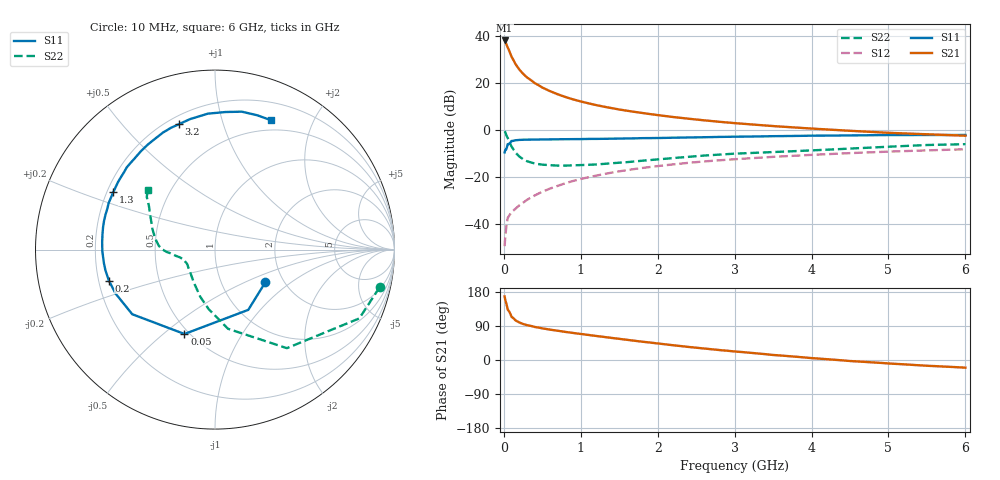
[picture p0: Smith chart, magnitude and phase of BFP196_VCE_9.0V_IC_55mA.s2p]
! (c) 2017  Infineon Technologies AG, Munich
! Infineon Technologies  Discrete & RF Semiconductors
! BFP196
! VCE =  9.0 V,  IC =  55 mA
! Common Emitter S-Parameters:  Jan 2017
# GHz  S  MA  R  50
!  f  S11  S21  S12  S22
! GHz  MAG  ANG  MAG  ANG  MAG  ANG  MAG  ANG
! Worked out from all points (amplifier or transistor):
!   77 points, 10 MHz to 6 GHz, reference 50 ohm
!   highest |S21| = 38.1 dB at 10 MHz (marker M1)
!   |S21| within 3 dB of that: start of sweep to 50.95 MHz
!   unconditionally stable (mu >= 1): 555.9 MHz to 2.381 GHz
!   at 130 MHz: K = 0.61, MSG = 31.7 dB, |S12| = -34.1 dB
!   at 2.2 GHz: K = 1.01, MAG = 9.4 dB, |S12| = -14.6 dB
!   at 6 GHz: K = 0.94, MSG = 2.9 dB, |S12| = -8.2 dB
!   S11 on the Smith chart (normalised r, x): 10 MHz: 1.61, -0.66; 50 MHz: 0.47, -0.59; 200 MHz: 0.24, -0.13; 1.3 GHz: 0.23, +0.25; 3.2 GHz: 0.24, +0.72; 6 GHz: 0.39, +1.45
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0.01  0.3344 -33.1  80.11 167.8  0.0034 80.1  0.9408 -12.9
0.02  0.3835 -61.1  76.36 157.2  0.0058 77.5  0.8907 -25.5
0.05  0.4999 -109.9  57.16 133.3  0.0134 58.1  0.6797 -53.9
0.1  0.585 -142.0  36.08 113.9  0.0179 54.4  0.4469 -80.7
0.15  0.6057 -156.1  25.39 104.8  0.0211 54.4  0.3333 -96.1
0.2  0.616 -163.7  19.45 99.1  0.025 56.7  0.2752 -107.4
0.25  0.6213 -169.4  15.72 95.0  0.0285 58.2  0.2397 -115.4
0.3  0.6236 -173.2  13.16 92.1  0.0328 60.9  0.218 -122.8
0.4  0.6279 -179.2  9.982 87.3  0.0405 64.3  0.1945 -133.0
0.5  0.6302 176.0  8.001 83.5  0.0487 65.3  0.1837 -140.5
0.6  0.6328 172.1  6.701 80.2  0.0569 66.0  0.179 -146.3
0.7  0.636 168.7  5.749 77.2  0.065 66.3  0.1752 -150.8
0.9  0.6404 162.3  4.479 71.4  0.0826 65.4  0.1777 -156.7
1.1  0.6467 156.4  3.693 66.1  0.099 64.3  0.1823 -161.2
1.3  0.6508 150.6  3.136 60.9  0.1158 62.2  0.1906 -164.6
1.7  0.6652 139.7  2.429 50.8  0.1485 57.6  0.2148 -170.0
2.1  0.6808 129.4  1.982 41.4  0.1785 52.4  0.2453 -174.6
3.1  0.7238 108.0  1.362 20.9  0.2449 39.1  0.3194 174.5
3.2  0.7268 106.2  1.323 19.1  0.2508 37.9  0.3244 173.1
4.1  0.7595 91.5  1.051 3.6  0.3016 27.1  0.3755 159.4
5.1  0.7824 77.7  0.86 -10.3  0.3518 15.5  0.4492 145.6
6  0.7854 66.6  0.757 -20.2  0.3901 5.5  0.5002 138.5
